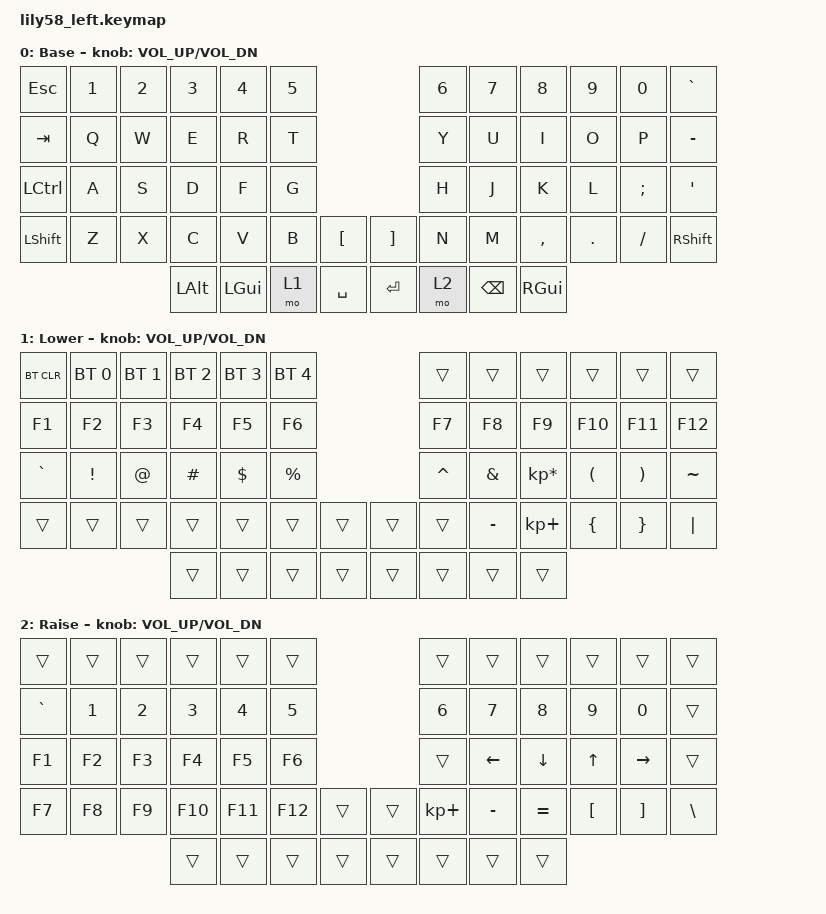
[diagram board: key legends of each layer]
/*
 * Copyright (c) 2020 The ZMK Contributors
 *
 * SPDX-License-Identifier: MIT
 */

#include <behaviors.dtsi>
#include <dt-bindings/zmk/keys.h>
#include <dt-bindings/zmk/bt.h>
#include <dt-bindings/zmk/ext_power.h>

/ {
    chosen {
        zmk,display = &nice_view; 
    };
    // adding the moth
    widget_image_moth {
        compatible = "zmk,widget-image";
        width = <128>;
        height = <64>;
        data = [
            f5 f5 f5 ff 04 04 04 ff
            ff ff ff c0 00 00 00 00 00 00 00 00 03 ff ff ff
            ff ff ff c0 00 00 60 00 00 00 00 00 03 ff ff ff
            ff ff ff c0 00 00 60 00 00 00 00 00 03 ff ff ff
            ff ff ff c0 00 00 60 00 00 00 00 00 03 ff ff ff
            ff ff ff c0 00 00 60 00 00 00 00 00 03 ff ff ff
            ff ff ff c0 00 00 70 00 00 00 00 00 03 ff ff ff
            ff ff ff c0 00 00 70 00 00 00 00 00 03 ff ff ff
            ff ff ff c0 00 00 38 00 00 00 00 00 03 ff ff ff
            ff ff ff c0 00 00 38 00 00 00 00 00 03 ff ff ff
            ff ff ff c0 00 00 3c 00 00 00 00 00 03 ff ff ff
            ff ff ff c0 00 00 1e 00 00 00 00 00 03 ff ff ff
            ff ff ff c0 00 00 0f 00 00 00 00 00 03 ff ff ff
            ff ff ff c0 00 00 0f 80 00 00 00 08 03 ff ff ff
            ff ff ff c0 00 00 07 c0 00 00 00 08 03 ff ff ff
            ff ff ff c0 00 00 03 e0 00 00 00 18 03 ff ff ff
            ff ff ff c0 00 00 03 f0 00 00 00 18 03 ff ff ff
            ff ff ff c0 00 00 01 f8 00 00 00 30 03 ff ff ff
            ff ff ff c0 00 00 00 fc 00 a0 00 30 03 ff ff ff
            ff ff ff c0 00 00 00 fe 00 02 00 70 03 ff ff ff
            ff ff ff c0 00 00 00 7f 04 00 08 60 03 ff ff ff
            ff ff ff c0 00 00 00 3f 88 00 01 e0 03 ff ff ff
            ff ff ff c0 00 00 00 1f d0 00 01 c0 03 ff ff ff
            ff ff ff c0 00 00 00 0f e0 00 03 c0 03 ff ff ff
            ff ff ff c0 00 00 00 07 e0 00 0f 88 03 ff ff ff
            ff ff ff c0 00 00 00 03 f0 00 3f 10 03 ff ff ff
            ff ff ff c0 00 00 00 03 f8 00 7e 00 03 ff ff ff
            ff ff ff c0 00 00 00 01 f8 01 f8 00 03 ff ff ff
            ff ff ff c0 00 00 00 00 fc 03 f0 00 03 ff ff ff
            ff ff ff c0 00 00 00 00 3c 03 e0 00 03 ff ff ff
            ff ff ff f4 00 00 00 00 04 07 c0 00 03 ff ff ff
            ff ff ff c2 80 00 00 20 0c 07 80 00 03 ff ff ff
            ff ff ff c0 68 00 00 10 18 07 80 00 03 ff ff ff
            ff ff ff c0 16 00 00 00 18 01 00 00 03 ff ff ff
            ff ff ff c0 01 c0 00 01 f8 03 80 00 03 ff ff ff
            ff ff ff c0 00 1c 01 03 f8 07 c0 00 03 ff ff ff
            ff ff ff c0 00 03 40 07 b0 0f c0 00 03 ff ff ff
            ff ff ff c0 00 00 aa 0f 88 0f c0 00 03 ff ff ff
            ff ff ff c0 00 00 0c 1f c0 1f c0 00 03 ff ff ff
            ff ff ff c0 00 00 00 1f c8 1f e0 00 43 ff ff ff
            ff ff ff c0 00 00 04 2f e4 4f 80 00 03 ff ff ff
            ff ff ff c0 00 00 10 01 f5 0f 80 00 23 ff ff ff
            ff ff ff c0 00 00 00 40 3a 3f 00 00 03 ff ff ff
            ff ff ff c0 00 00 01 00 07 7e 00 00 03 ff ff ff
            ff ff ff c0 00 00 00 00 00 fe 00 00 03 ff ff ff
            ff ff ff c0 00 00 04 00 00 0c 00 00 03 ff ff ff
            ff ff ff c0 00 00 00 00 00 00 00 00 03 ff ff ff
            ff ff ff c0 00 00 b8 00 00 08 02 00 03 ff ff ff
            ff ff ff c0 00 00 a0 00 00 00 02 80 03 ff ff ff
            ff ff ff c0 00 01 60 00 00 00 00 70 03 ff ff ff
            ff ff ff c0 00 06 80 00 00 20 10 0d 43 ff ff ff
            ff ff ff c0 00 0b 00 00 00 62 40 02 c3 ff ff ff
            ff ff ff c0 00 02 00 00 00 04 00 00 3f ff ff ff
            ff ff ff c0 00 10 00 00 00 d0 00 00 03 ff ff ff
            ff ff ff c0 00 00 00 00 01 00 00 00 03 ff ff ff
            ff ff ff c0 00 00 00 00 01 40 00 00 03 ff ff ff
            ff ff ff c0 00 00 00 00 06 80 00 00 03 ff ff ff
            ff ff ff c0 00 00 00 00 03 00 00 00 03 ff ff ff
            ff ff ff c0 00 00 00 00 08 00 00 00 03 ff ff ff
            ff ff ff c0 00 00 00 00 02 00 00 00 03 ff ff ff
            ff ff ff c0 00 00 00 00 00 00 00 00 03 ff ff ff
            ff ff ff c0 00 00 00 00 00 00 00 00 03 ff ff ff
            ff ff ff c0 00 00 00 00 00 00 00 00 03 ff ff ff
            ff ff ff c0 00 00 00 00 00 00 00 00 03 ff ff ff
            ff ff ff c0 00 00 00 00 00 00 00 00 03 ff ff ff
            ff ff ff c0 00 00 00 00 00 00 00 00 03 ff ff ff
            ff ff ff c0 00 00 00 00 00 00 00 00 03 ff ff ff
        ];
    };
    // Display Node Configurations 
    &nice_view {
        widgets = <
            &widget_battery_status
            &widget_output_status
            &widget_image_moth
            &widget_layer_status
        >;
    }
    keymap {
        compatible = "zmk,keymap";

        default_layer {
// ------------------------------------------------------------------------------------------------------------
// |  ESC  |  1  |  2  |  3   |  4   |  5   |                   |  6   |  7    |  8    |  9   |   0   |   `   |
// |  TAB  |  Q  |  W  |  E   |  R   |  T   |                   |  Y   |  U    |  I    |  O   |   P   |   -   |
// |  CTRL |  A  |  S  |  D   |  F   |  G   |                   |  H   |  J    |  K    |  L   |   ;   |   '   |
// | SHIFT |  Z  |  X  |  C   |  V   |  B   |   "["  |  |  "]"  |  N   |  M    |  ,    |  .   |   /   | SHIFT |
//                     | ALT  | GUI  | LOWER|  SPACE |  | ENTER | RAISE| BSPC  | GUI   |
            display-name = "Base";
            bindings = <
&kp ESC   &kp N1 &kp N2 &kp N3   &kp N4   &kp N5                     &kp N6 &kp N7   &kp N8    &kp N9  &kp N0   &kp GRAVE
&kp TAB   &kp Q  &kp W  &kp E    &kp R    &kp T                      &kp Y  &kp U    &kp I     &kp O   &kp P    &kp MINUS
&kp LCTRL &kp A  &kp S  &kp D    &kp F    &kp G                      &kp H  &kp J    &kp K     &kp L   &kp SEMI &kp SQT
&kp LSHFT &kp Z  &kp X  &kp C    &kp V    &kp B  &kp LBKT   &kp RBKT &kp N  &kp M    &kp COMMA &kp DOT &kp FSLH &kp RSHFT
                        &kp LALT &kp LGUI &mo 1  &kp SPACE  &kp RET  &mo 2  &kp BSPC &kp RGUI
            >;

            sensor-bindings = <&inc_dec_kp C_VOL_UP C_VOL_DN>;
        };

        lower_layer {
// ------------------------------------------------------------------------------------------------------------
// | BTCLR | BT1 | BT2 |  BT3 |  BT4 |  BT5 |                   |      |       |       |      |       |       |
// |  F1   |  F2 |  F3 |  F4  |  F5  |  F6  |                   |  F7  |  F8   |  F9   |  F10 |  F11  |  F12  |
// |   `   |  !  |  @  |  #   |  $   |  %   |                   |  ^   |  &    |  *    |  (   |   )   |   ~   |
// |       |     |     |      |      |      |        |  |       |      |  _    |  +    |  {   |   }   |  "|"  |
//                     |      |      |      |        |  |       |      |       |       |
            display-name = "Lower";
            bindings = <
&bt BT_CLR &bt BT_SEL 0     &bt BT_SEL 1      &bt BT_SEL 2      &bt BT_SEL 3 &bt BT_SEL 4                 &trans    &trans    &trans          &trans    &trans    &trans
&kp F1     &kp F2           &kp F3            &kp F4            &kp F5       &kp F6                       &kp F7    &kp F8    &kp F9          &kp F10   &kp F11   &kp F12
&kp GRAVE  &kp EXCL         &kp AT            &kp HASH          &kp DOLLAR   &kp PRCNT                    &kp CARET &kp AMPS  &kp KP_MULTIPLY &kp LPAR  &kp RPAR  &kp TILDE
&trans     &trans           &trans            &trans            &trans       &trans    &trans   &trans    &trans    &kp MINUS &kp KP_PLUS     &kp LBRC  &kp RBRC  &kp PIPE
                                              &trans            &trans       &trans    &trans   &trans    &trans    &trans    &trans
            >;

            sensor-bindings = <&inc_dec_kp C_VOL_UP C_VOL_DN>;
        };

        raise_layer {
// ------------------------------------------------------------------------------------------------------------
// |       |     |     |      |      |      |                   |      |       |       |      |       |       |
// |   `   |  1  |  2  |  3   |  4   |  5   |                   |  6   |   7   |   8   |  9   |   0   |       |
// |   F1  |  F2 |  F3 |  F4  |  F5  |  F6  |                   |      |   <-  |   v   |  ^   |  ->   |       |
// |   F7  |  F8 |  F9 |  F10 |  F11 |  F12 |        |  |       |  +   |   -   |   =   |  [   |   ]   |   \   |
//                     |      |      |      |        |  |       |      |       |       |
            display-name = "Raise";
            bindings = <
&trans    &trans &trans &trans  &trans  &trans                       &trans      &trans    &trans    &trans   &trans    &trans
&kp GRAVE &kp N1 &kp N2 &kp N3  &kp N4  &kp N5                       &kp N6      &kp N7    &kp N8    &kp N9   &kp N0    &trans
&kp F1    &kp F2 &kp F3 &kp F4  &kp F5  &kp F6                       &trans      &kp LEFT  &kp DOWN  &kp UP   &kp RIGHT &trans
&kp F7    &kp F8 &kp F9 &kp F10 &kp F11 &kp F12   &trans   &trans    &kp KP_PLUS &kp MINUS &kp EQUAL &kp LBKT &kp RBKT  &kp BSLH
                        &trans  &trans  &trans    &trans   &trans    &trans      &trans    &trans
            >;

            sensor-bindings = <&inc_dec_kp C_VOL_UP C_VOL_DN>;
        };

        extra_1 {
            status = "reserved";
        };

        extra_2 {
            status = "reserved";
        };

        extra_3 {
            status = "reserved";
        };
    };
};
